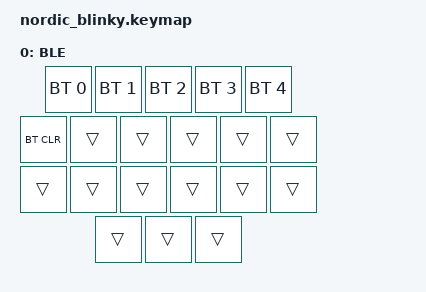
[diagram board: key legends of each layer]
/*
 * Nordic_Blinky - LE Test Fixture
 * Minimal keymap for BLE signal source
 */

#include <behaviors.dtsi>
#include <dt-bindings/zmk/bt.h>

/ {
    keymap {
        compatible = "zmk,keymap";

        default_layer {
            display-name = "BLE";
            bindings = <
                &bt BT_SEL 0  &bt BT_SEL 1  &bt BT_SEL 2  &bt BT_SEL 3  &bt BT_SEL 4
                &bt BT_CLR  &trans  &trans  &trans  &trans  &trans
                &trans  &trans  &trans  &trans  &trans  &trans
                &trans  &trans  &trans
            >;
        };
    };
};
